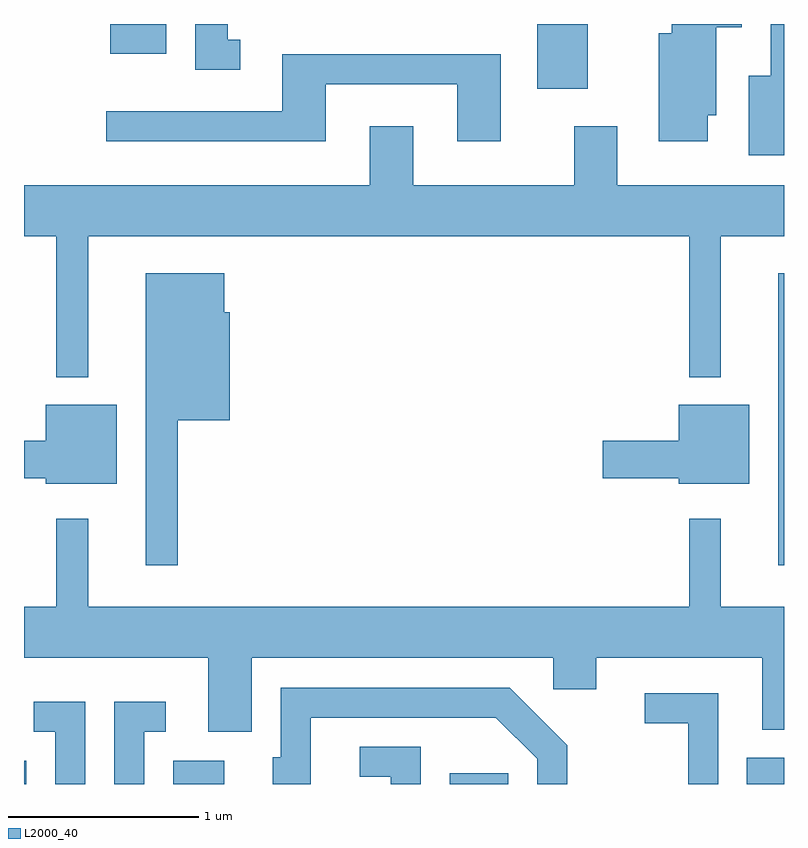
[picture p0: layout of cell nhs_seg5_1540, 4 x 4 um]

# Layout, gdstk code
import gdstk
lib = gdstk.Library(unit=1e-6, precision=1e-09)
def R(c, l, rs):  # rectangles x0, y0, x1, y1
    for r in rs: c.add(gdstk.rectangle(r[:2], r[2:], *l))
def P(c, l, *ps):  # polygons
    for p in ps: c.add(gdstk.Polygon(p, *l))
L2000_40 = (2000, 40)

nhs_seg5_1540 = lib.new_cell('nhs_seg5_1540')
R(nhs_seg5_1540, L2000_40, [(229.611,1516.072,229.624,1516.194), (230.396,1516.072,230.664,1516.194), (231.851,1516.072,232.159,1516.129), (233.416,1516.072,233.611,1516.209), (233.581,1517.223,233.611,1518.759), (232.311,1519.731,232.579,1520.072), (230.066,1519.916,230.359,1520.072)])
P(nhs_seg5_1540, L2000_40, [(230.748,1519.989),(230.684,1519.989),(230.684,1520.072),(230.511,1520.072),(230.511,1519.831),(230.748,1519.831)],
  [(233.611,1520.072),(233.541,1520.072),(233.541,1519.799),(233.426,1519.799),(233.426,1519.381),(233.611,1519.381)],
  [(233.209,1519.591),(233.254,1519.591),(233.254,1520.056),(233.389,1520.056),(233.389,1520.072),(233.021,1520.072),(233.021,1520.024),(232.951,1520.024),(232.951,1519.456),(233.209,1519.456)],
  [(231.199,1519.756),(231.891,1519.756),(231.891,1519.456),(232.119,1519.456),(232.119,1519.914),(230.971,1519.914),(230.971,1519.614),(230.043,1519.614),(230.043,1519.456),(231.199,1519.456)],
  [(229.949,1518.956),(233.111,1518.956),(233.111,1518.213),(233.279,1518.213),(233.279,1518.956),(233.611,1518.956),(233.611,1519.224),(232.734,1519.224),(232.734,1519.534),(232.506,1519.534),(232.506,1519.224),(231.659,1519.224),(231.659,1519.534),(231.431,1519.534),(231.431,1519.224),(229.611,1519.224),(229.611,1518.956),(229.781,1518.956),(229.781,1518.213),(229.949,1518.213)],
  [(230.419,1517.986),(230.694,1517.986),(230.694,1518.554),(230.664,1518.554),(230.664,1518.759),(230.251,1518.759),(230.251,1517.223),(230.419,1517.223)],
  [(233.429,1518.069),(233.056,1518.069),(233.056,1517.879),(232.656,1517.879),(232.656,1517.681),(233.056,1517.681),(233.056,1517.651),(233.429,1517.651)],
  [(230.099,1518.069),(229.726,1518.069),(229.726,1517.879),(229.611,1517.879),(229.611,1517.681),(229.726,1517.681),(229.726,1517.651),(230.099,1517.651)],
  [(230.809,1516.736),(232.396,1516.736),(232.396,1516.571),(232.624,1516.571),(232.624,1516.736),(233.496,1516.736),(233.496,1516.358),(233.611,1516.358),(233.611,1517.004),(233.279,1517.004),(233.279,1517.468),(233.111,1517.468),(233.111,1517.004),(229.949,1517.004),(229.949,1517.468),(229.781,1517.468),(229.781,1517.004),(229.611,1517.004),(229.611,1516.736),(230.581,1516.736),(230.581,1516.346),(230.809,1516.346)],
  [(231.119,1516.421),(232.094,1516.421),(232.311,1516.204),(232.311,1516.072),(232.469,1516.072),(232.469,1516.277),(232.167,1516.579),(230.961,1516.579),(230.961,1516.214),(230.921,1516.214),(230.921,1516.072),(231.119,1516.072)],
  [(233.264,1516.549),(232.878,1516.549),(232.878,1516.391),(233.106,1516.391),(233.106,1516.072),(233.264,1516.072)],
  [(229.934,1516.504),(229.663,1516.504),(229.663,1516.346),(229.776,1516.346),(229.776,1516.072),(229.934,1516.072)],
  [(230.244,1516.346),(230.358,1516.346),(230.358,1516.504),(230.086,1516.504),(230.086,1516.072),(230.244,1516.072)],
  [(231.699,1516.269),(231.378,1516.269),(231.378,1516.111),(231.541,1516.111),(231.541,1516.072),(231.699,1516.072)])

lib.write_gds('nhs_seg5_1540.gds')
